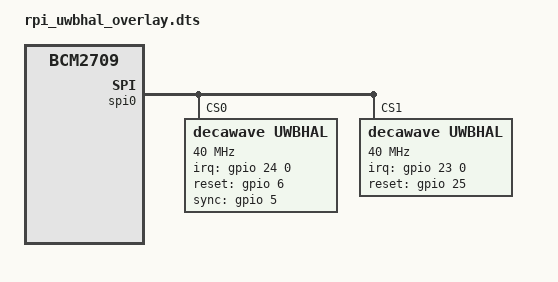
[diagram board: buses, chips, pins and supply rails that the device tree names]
// Device Tree overlay for uwbhal on Raspberry Pi

/dts-v1/;
/plugin/;

/ {
    compatible = "brcm,bcm2835", "brcm,bcm2708", "brcm,bcm2709";
    /* disable spi-dev for spi0.0 & spi0.1 */
    fragment@0 {
        target = <&spi0>;
        __overlay__ {
            status = "okay";
        };
    };

    fragment@1 {
        target = <&spidev0>;
        __overlay__ {
            status = "disabled";
        };
    };

    fragment@2 {
        target = <&spidev1>;
        __overlay__ {
            status = "disabled";
        };
    };

    fragment@3 {
        target = <&gpio>;
        __overlay__ {
        spi0_pins: spi0_pins {
                brcm,pins = <9 10 11>;
                brcm,function = <0x4 0x4 0x4>;
            };
        spi0_cs_pins: spi0_cs_pins {
                brcm,pins = <8 7>;
                brcm,function = <0x1 0x1>;
            };
        uwb_rst_pins: uwb_rst_pins {
                brcm,pins = <25 6>; /* RST0, RST1 */
                brcm,function = <0x0 0x0>;
                brcm,pull = <0 0>; /* Disable all pull-up/down */
            };
        uwb_irq_pins: uwb_irq_pins {
                brcm,pins = <24 23>; /* RST0, RST1 */
                brcm,function = <0x0 0x0>;
                brcm,pull = <0 0>; /* Disable all pull-up/down */
            };
        };
    };

    fragment@4 {
        target = <&spi0>;
        __overlay__ {
            #address-cells = <1>;
            #size-cells = <0>;
            pinctrl-names = "default";
            pinctrl-0 = <&spi0_pins &spi0_cs_pins &uwb_rst_pins &uwb_irq_pins>;

            uwbhal@0 {
                compatible = "decawave,uwbhal";
                reg = <0>; /* CE0 */
                spi-max-frequency = <40000000>;
                uwbhal,irq-gpio = <&gpio 24 0 0>;
                uwbhal,reset-gpio = <&gpio 6 0x4>; /* OPEN_DRAIN */
                /* uwbhal,reset-gpio = <&gpio 6 0x0>; If ther's a buffer on rst use this instead of line above */
                uwbhal,sync-gpio = <&gpio 5 0>;
                status = "okay";
            };

            uwbhal@1 {
                compatible = "decawave,uwbhal";
                reg = <1>; /* CE1 */
                spi-max-frequency = <40000000>;
                uwbhal,irq-gpio = <&gpio 23 0 0>;
                uwbhal,reset-gpio = <&gpio 25 0x4>; /* OPEN_DRAIN */
                /* uwbhal,reset-gpio = <&gpio 25 0x0>; If ther's a buffer on rst use this instead of line above */
                status = "okay";
            };
        };
    };
};
